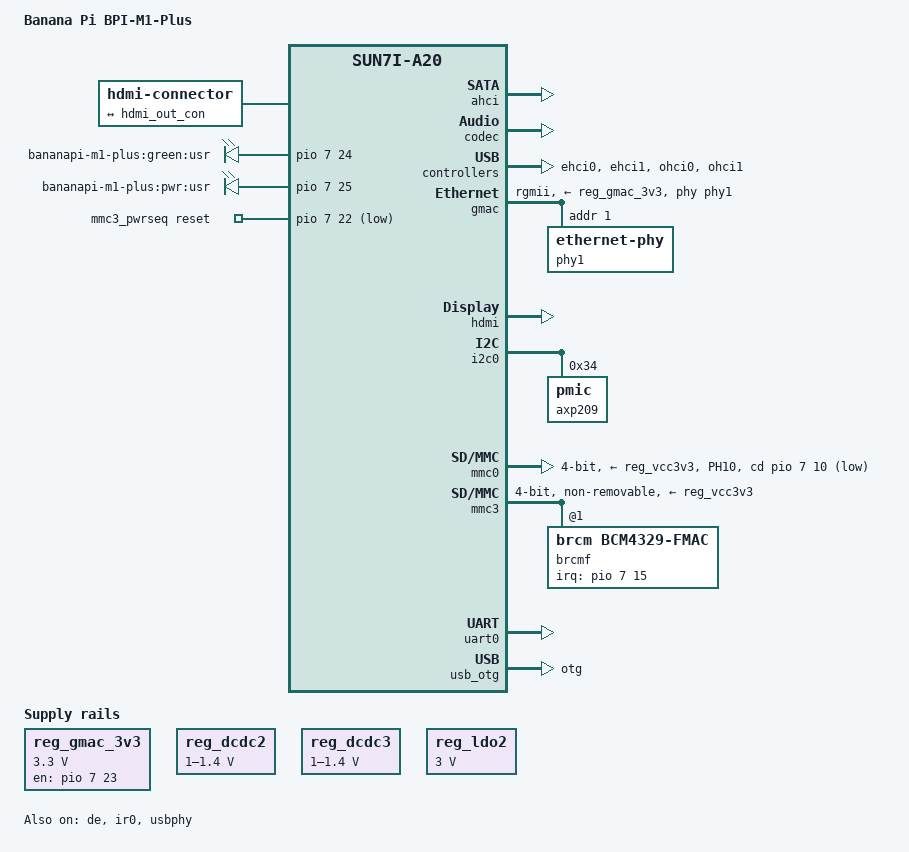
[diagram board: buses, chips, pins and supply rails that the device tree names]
/*
 * Copyright 2016 Luo Yi <luoyi.ly@gmail.com>
 *
 * Thanks to the original work by Hans de Goede <hdegoede@redhat.com>
 *
 * This file is dual-licensed: you can use it either under the terms
 * of the GPL or the X11 license, at your option. Note that this dual
 * licensing only applies to this file, and not this project as a
 * whole.
 *
 *  a) This file is free software; you can redistribute it and/or
 *     modify it under the terms of the GNU General Public License as
 *     published by the Free Software Foundation; either version 2 of the
 *     License, or (at your option) any later version.
 *
 *     This file is distributed in the hope that it will be useful,
 *     but WITHOUT ANY WARRANTY; without even the implied warranty of
 *     MERCHANTABILITY or FITNESS FOR A PARTICULAR PURPOSE.  See the
 *     GNU General Public License for more details.
 *
 * Or, alternatively,
 *
 *  b) Permission is hereby granted, free of charge, to any person
 *     obtaining a copy of this software and associated documentation
 *     files (the "Software"), to deal in the Software without
 *     restriction, including without limitation the rights to use,
 *     copy, modify, merge, publish, distribute, sublicense, and/or
 *     sell copies of the Software, and to permit persons to whom the
 *     Software is furnished to do so, subject to the following
 *     conditions:
 *
 *     The above copyright notice and this permission notice shall be
 *     included in all copies or substantial portions of the Software.
 *
 *     THE SOFTWARE IS PROVIDED "AS IS", WITHOUT WARRANTY OF ANY KIND,
 *     EXPRESS OR IMPLIED, INCLUDING BUT NOT LIMITED TO THE WARRANTIES
 *     OF MERCHANTABILITY, FITNESS FOR A PARTICULAR PURPOSE AND
 *     NONINFRINGEMENT. IN NO EVENT SHALL THE AUTHORS OR COPYRIGHT
 *     HOLDERS BE LIABLE FOR ANY CLAIM, DAMAGES OR OTHER LIABILITY,
 *     WHETHER IN AN ACTION OF CONTRACT, TORT OR OTHERWISE, ARISING
 *     FROM, OUT OF OR IN CONNECTION WITH THE SOFTWARE OR THE USE OR
 *     OTHER DEALINGS IN THE SOFTWARE.
 */

/dts-v1/;
#include "sun7i-a20.dtsi"
#include "sunxi-common-regulators.dtsi"
#include <dt-bindings/gpio/gpio.h>
#include <dt-bindings/interrupt-controller/arm-gic.h>

/ {
	model = "Banana Pi BPI-M1-Plus";
	compatible = "sinovoip,bpi-m1-plus", "allwinner,sun7i-a20";

	aliases {
		serial0 = &uart0;
	};

	chosen {
		stdout-path = "serial0:115200n8";
	};

	hdmi-connector {
		compatible = "hdmi-connector";
		type = "a";

		port {
			hdmi_con_in: endpoint {
				remote-endpoint = <&hdmi_out_con>;
			};
		};
	};

	leds {
		compatible = "gpio-leds";
		pinctrl-names = "default";
		pinctrl-0 = <&led_pins_bpi_m1p>;

		green {
			label = "bananapi-m1-plus:green:usr";
			gpios = <&pio 7 24 GPIO_ACTIVE_HIGH>;
		};

		pwr {
			label = "bananapi-m1-plus:pwr:usr";
			gpios = <&pio 7 25 GPIO_ACTIVE_HIGH>;
			default-state = "on";
		};
	};

	mmc3_pwrseq: mmc3_pwrseq {
		compatible = "mmc-pwrseq-simple";
		pinctrl-names = "default";
		pinctrl-0 = <&mmc3_pwrseq_pin_bpi_m1p>;
		reset-gpios = <&pio 7 22 GPIO_ACTIVE_LOW>; /* PH22 WL-PMU-EN */
	};

	reg_gmac_3v3: gmac-3v3 {
		compatible = "regulator-fixed";
		pinctrl-names = "default";
		pinctrl-0 = <&gmac_power_pin_bpi_m1p>;
		regulator-name = "gmac-3v3";
		regulator-min-microvolt = <3300000>;
		regulator-max-microvolt = <3300000>;
		startup-delay-us = <100000>;
		enable-active-high;
		gpio = <&pio 7 23 GPIO_ACTIVE_HIGH>;
	};
};

&ahci {
	status = "okay";
};

&codec {
	status = "okay";
};

&cpu0 {
	cpu-supply = <&reg_dcdc2>;
};

&de {
	status = "okay";
};

&ehci0 {
	status = "okay";
};

&ehci1 {
	status = "okay";
};

&gmac {
	pinctrl-names = "default";
	pinctrl-0 = <&gmac_pins_rgmii_a>;
	phy = <&phy1>;
	phy-mode = "rgmii";
	phy-supply = <&reg_gmac_3v3>;
	status = "okay";

	phy1: ethernet-phy@1 {
		reg = <1>;
	};
};

&hdmi {
	status = "okay";
};

&hdmi_out {
	hdmi_out_con: endpoint {
		remote-endpoint = <&hdmi_con_in>;
	};
};

&i2c0 {
	pinctrl-names = "default";
	pinctrl-0 = <&i2c0_pins_a>;
	status = "okay";

	axp209: pmic@34 {
		reg = <0x34>;
		interrupt-parent = <&nmi_intc>;
		interrupts = <0 IRQ_TYPE_LEVEL_LOW>;
	};
};

#include "axp209.dtsi"

&ac_power_supply {
	status = "okay";
};

&ir0 {
	pinctrl-names = "default";
	pinctrl-0 = <&ir0_rx_pins_a>;
	status = "okay";
};

&mmc0 {
	pinctrl-names = "default";
	pinctrl-0 = <&mmc0_pins_a>, <&mmc0_cd_pin_bpi_m1p>;
	vmmc-supply = <&reg_vcc3v3>;
	bus-width = <4>;
	cd-gpios = <&pio 7 10 GPIO_ACTIVE_LOW>; /* PH10 */
	status = "okay";
};

&mmc3 {
	#address-cells = <1>;
	#size-cells = <0>;
	pinctrl-names = "default";
	pinctrl-0 = <&mmc3_pins_a>;
	vmmc-supply = <&reg_vcc3v3>;
	mmc-pwrseq = <&mmc3_pwrseq>;
	bus-width = <4>;
	non-removable;
	wakeup-source;
	status = "okay";

	brcmf: wifi@1 {
		reg = <1>;
		compatible = "brcm,bcm4329-fmac";
		interrupt-parent = <&pio>;
		interrupts = <7 15 IRQ_TYPE_LEVEL_LOW>;
		interrupt-names = "host-wake";
	};
};

&mmc3_pins_a {
	/* AP6210 requires pull-up */
	bias-pull-up;
};

&ohci0 {
	status = "okay";
};

&ohci1 {
	status = "okay";
};

&otg_sram {
	status = "okay";
};

&pio {
	gmac_power_pin_bpi_m1p: gmac_power_pin@0 {
		pins = "PH23";
		function = "gpio_out";
	};

	led_pins_bpi_m1p: led_pins@0 {
		pins = "PH24", "PH25";
		function = "gpio_out";
	};

	mmc0_cd_pin_bpi_m1p: mmc0_cd_pin@0 {
		pins = "PH10";
		function = "gpio_in";
		bias-pull-up;
	};

	mmc3_pwrseq_pin_bpi_m1p: mmc3_pwrseq_pin@0 {
		pins = "PH22";
		function = "gpio_out";
	};
};

&reg_dcdc2 {
	regulator-always-on;
	regulator-min-microvolt = <1000000>;
	regulator-max-microvolt = <1400000>;
	regulator-name = "vdd-cpu";
};

&reg_dcdc3 {
	regulator-always-on;
	regulator-min-microvolt = <1000000>;
	regulator-max-microvolt = <1400000>;
	regulator-name = "vdd-int-dll";
};

&reg_ldo1 {
	regulator-name = "vdd-rtc";
};

&reg_ldo2 {
	regulator-always-on;
	regulator-min-microvolt = <3000000>;
	regulator-max-microvolt = <3000000>;
	regulator-name = "avcc";
};

&reg_usb0_vbus {
	status = "okay";
};

&uart0 {
	pinctrl-names = "default";
	pinctrl-0 = <&uart0_pins_a>;
	status = "okay";
};

&usb_otg {
	dr_mode = "otg";
	status = "okay";
};

&usb_power_supply {
	status = "okay";
};

&usbphy {
	usb0_id_det-gpios = <&pio 7 4 GPIO_ACTIVE_HIGH>; /* PH4 */
	usb0_vbus_power-supply = <&usb_power_supply>;
	usb0_vbus-supply = <&reg_usb0_vbus>;
	/* VBUS on usb host ports are tied to DC5V and therefore always on */
	status = "okay";
};
